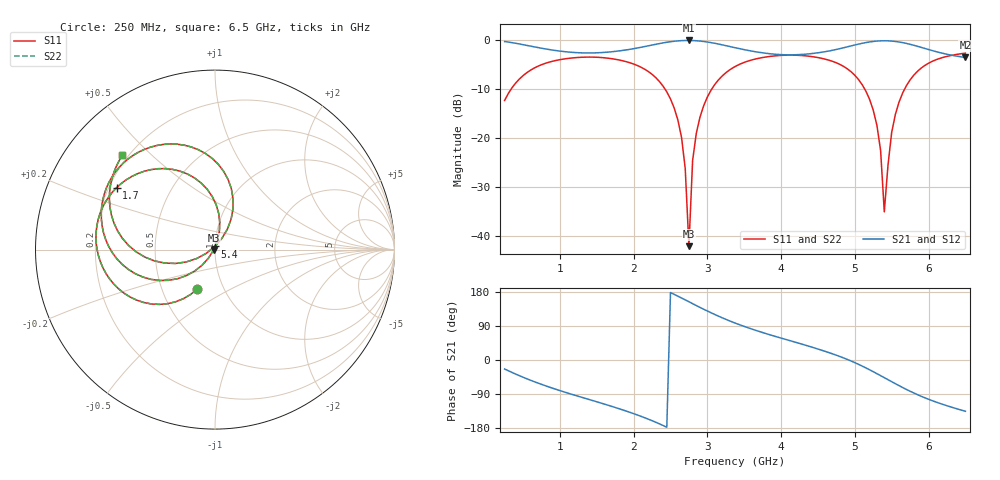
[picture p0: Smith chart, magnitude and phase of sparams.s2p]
! NobuRF kit-ro22-line12: ports 1 "p1", 2 "p2"; 5900 + 5900 steps
# GHz S RI R 50
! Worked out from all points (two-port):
!   126 points, 250 MHz to 6.5 GHz, reference 50 ohm
!   highest |S21| = -0.05 dB at 2.75 GHz (marker M1); lowest = -3.5 dB at 6.5 GHz (marker M2)
!   |S21| within 3 dB of the highest: start of sweep to 6.306 GHz
!   lowest |S11| = -42.1 dB at 2.75 GHz (marker M3), VSWR 1.02, Z = 49.2 - j0.178 ohm
!   |S11| at or under -10 dB: start of sweep to 338.6 MHz; 2.425 GHz to 3.06 GHz (634.2 MHz wide, 23.1 % of centre); 5.135 GHz to 5.676 GHz (541.5 MHz wide, 10 % of centre)
!   |S22| runs from -42.1 to -2.7 dB; largest |S21 - S12| = 1.2e-07
!   S11 on the Smith chart (normalised r, x): 250 MHz: 0.75, -0.35; 1.7 GHz: 0.23, +0.27; 5.4 GHz: 1.00, +0.04; 6.5 GHz: 0.18, +0.41
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0.25  -0.0997 -0.2205  0.8864 -0.3912  0.8864 -0.3912  -0.0997 -0.2205
0.65  -0.4347 -0.2823  0.4653 -0.7183  0.4653 -0.7183  -0.4347 -0.2823
1.3  -0.662 0.1003  -0.112 -0.7337  -0.112 -0.7337  -0.662 0.1003
1.7  -0.5481 0.3453  -0.4059 -0.6445  -0.4059 -0.6445  -0.5481 0.3453
2.35  -0.0764 0.3704  -0.9057 -0.1839  -0.9057 -0.1839  -0.0764 0.3704
2.65  0.024 0.0984  -0.9495 0.2808  -0.9495 0.2808  0.024 0.0984
2.7  0.0125 0.0471  -0.9251 0.3626  -0.9251 0.3626  0.0125 0.0471
2.75  -0.00762 -0.00181  -0.8909 0.4414  -0.8909 0.4414  -0.00762 -0.00181
2.8  -0.0358 -0.0467  -0.8478 0.5157  -0.8478 0.5157  -0.0358 -0.0467
2.9  -0.1122 -0.1189  -0.7383 0.6448  -0.7383 0.6448  -0.1122 -0.1189
3.1  -0.3067 -0.1722  -0.4671 0.8044  -0.4671 0.8044  -0.3067 -0.1722
3.4  -0.5475 -0.0502  -0.0835 0.8265  -0.0835 0.8265  -0.5475 -0.0502
3.9  -0.6173 0.3077  0.3213 0.6454  0.3213 0.6454  -0.6173 0.3077
4.45  -0.3588 0.5709  0.6236 0.3894  0.6236 0.3894  -0.3588 0.5709
4.8  -0.0928 0.5567  0.8105 0.1285  0.8105 0.1285  -0.0928 0.5567
5.15  0.1004 0.2846  0.8838 -0.3365  0.8838 -0.3365  0.1004 0.2846
5.3  0.0695 0.1152  0.7924 -0.5764  0.7924 -0.5764  0.0695 0.1152
5.35  0.039 0.0634  0.7403 -0.65  0.7403 -0.65  0.039 0.0634
5.4  -0.00073 0.0176  0.6784 -0.7169  0.6784 -0.7169  -0.00073 0.0176
5.5  -0.1021 -0.0498  0.531 -0.8237  0.531 -0.8237  -0.1021 -0.0498
5.8  -0.4386 -0.0131  0.0463 -0.8866  0.0463 -0.8866  -0.4386 -0.0131
6.5  -0.5154 0.5263  -0.4742 -0.4695  -0.4742 -0.4695  -0.5154 0.5263
